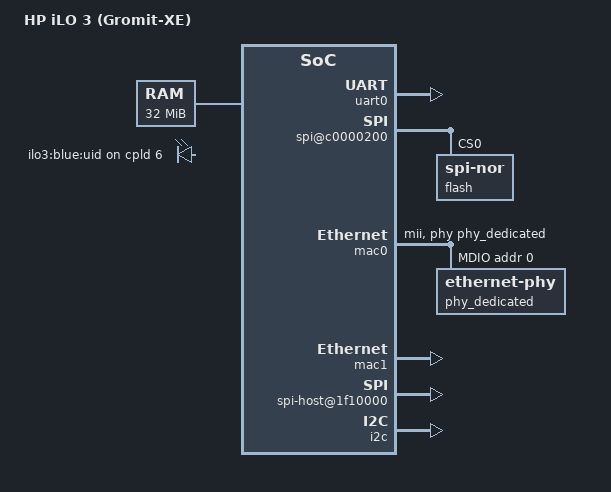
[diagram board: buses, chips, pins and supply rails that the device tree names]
// SPDX-License-Identifier: GPL-2.0+
/*
 * HP iLO 3 — Gromit-XE (GXE) BMC devicetree (DRAFT)
 *
 * Reconstructed purely by static reverse-engineering of iLO 3 FW 1.94
 * (Green Hills INTEGRITY firmware). Every address is PHYSICAL (the ASIC
 * device regions are identity-mapped; see docs/10). IRQ lines are from the
 * kernel BSP IODevice registry (see docs/12). Register offsets/bit-fields:
 * docs/05-15. CPU/SoC identity: docs/02 (ARM926EJ-S / ARMv5TEJ, PN 438893-503).
 *
 * STATUS: hardware-description draft. No upstream drivers exist for these
 * Gromit-XE blocks yet — `compatible` strings are proposed ("hpe,gxe-*").
 * Validate on real hardware before trusting sizes/bit-fields.
 */

/dts-v1/;

/ {
	model = "HP iLO 3 (Gromit-XE)";
	compatible = "hpe,ilo3-gxe", "hpe,gromit-xe";
	#address-cells = <1>;
	#size-cells = <1>;
	interrupt-parent = <&intc>;		/* global IRQ 0-63 (docs/12) */

	chosen {
		/* custom 8-bit Gromit-XE UART (docs/05). earlycon auto-matches the
		 * stdout-path node's compatible ("hpe,gxe-uart"); gxe-uart driver
		 * provides both earlycon and the ttyGXE console. */
		stdout-path = "serial0:9600n8";
		bootargs = "earlycon console=ttyGXE0,9600n8";
	};

	aliases {
		serial0 = &uart0;
		ethernet0 = &mac0;		/* dedicated iLO NIC */
		ethernet1 = &mac1;		/* sideband/shared NC-SI */
	};

	cpus {
		#address-cells = <1>;
		#size-cells = <0>;
		cpu@0 {
			device_type = "cpu";
			compatible = "arm,arm926ej-s";	/* ARMv5TEJ, docs/02 */
			reg = <0>;
		};
	};

	/*
	 * Per-process low 32 MB (FCSE). The OS address space is 0..0x02000000
	 * (docs/04). A separate 256 MB RAM region exists at 0x20000000 (docs/13);
	 * real DRAM size/placement needs hardware confirmation.
	 */
	memory@0 {
		device_type = "memory";
		reg = <0x00000000 0x02000000>;	/* 32 MB */
	};

	reserved-memory {
		#address-cells = <1>;
		#size-cells = <1>;
		ranges;

		/* KVM video-capture framebuffers (docs/14) */
		video_capture: video@b0000000 {
			reg = <0xb0000000 0x04000000>;	/* 64 MB */
			no-map;
		};

		/* CHIF host<->BMC shared-memory window (docs/06) */
		chif_shmem: chif@40000000 {
			reg = <0x40000000 0x10000000>;	/* 256 MB aperture */
			no-map;
		};
	};

	/*
	 * Interrupt controller — 64 lines in 2 HW banks (docs/12). One irqchip
	 * domain (global IRQ 0-63); the driver backs it with both register blocks:
	 *   bank0 (IRQ 0-31)  @ 0xCEFF0000
	 *   bank1 (IRQ 32-63) @ 0x80F00000
	 * Per bank: enable +0x14 (active-high), status +0x0C, per-source cfg +0x100[32].
	 */
	intc: interrupt-controller@ceff0000 {
		compatible = "hpe,gxe-intc";
		reg = <0xceff0000 0x1000>,	/* bank0: IRQ 0-31  */
		      <0x80f00000 0x1000>;	/* bank1: IRQ 32-63 */
		interrupt-controller;
		#interrupt-cells = <1>;
	};
};

/ {
	soc {
		compatible = "simple-bus";
		#address-cells = <1>;
		#size-cells = <1>;
		ranges;

		/* ---- ASIC core block 0xC0000000-0xC001FFFF (docs/05,11,12,15) ---- */

		/* custom 8-bit UART: data +0x00, status +0x05 (TXRDY=bit5, RXRDY=bit0) */
		uart0: serial@c00000f0 {
			compatible = "hpe,gxe-uart";
			reg = <0xc00000f0 0x8>;
			/* polled console (no IRQ wired in iLO fw) */
		};

		/*
		 * No calendar-RTC node: the Gromit-XE has NO wall-clock RTC register
		 * block (docs/18 corrects docs/05). 0xC0000097 is a timer latch byte
		 * and 0xC00000A0 is a chip-ID/revision register, not date/time. The
		 * original firmware keeps a SOFTWARE real-time clock (INTEGRITY
		 * RealTimeClock) seeded from the 64-bit counter @0xC0000098 (see the
		 * timer node) and set via SNTP/NTP. On OpenBMC: use the timer
		 * clocksource for the timebase + systemd-timesyncd (SNTP) and
		 * fake-hwclock to persist wall time across reboots. No RTC driver.
		 */

		crypto@c000000c {
			compatible = "hpe,gxe-crypto";	/* Corsec ASIC engine, docs/05 */
			reg = <0xc000000c 0x4>;
		};

		timer@c0000098 {
			compatible = "hpe,gxe-timer";
			reg = <0xc0000098 0x8>;		/* 64-bit free-running counter */
			interrupts = <7>;		/* IODTIMER1, docs/12 */
			/* TODO: real counter rate (strap-derived, unknown from fw) */
			clock-frequency = <1000000>;	/* PLACEHOLDER 1 MHz - fix on HW */
		};

		/* iLO's own boot SPI-NOR controller (SMIF/gxekflsh), docs/15 */
		spi@c0000200 {
			compatible = "hpe,gxe-smif";
			reg = <0xc0000200 0x80>;	/* regs + 64-byte data FIFO @+0x40 */
			interrupts = <26>, <27>, <28>;	/* IODSPI0-2, docs/12 */
			#address-cells = <1>;
			#size-cells = <0>;
			flash@0 {
				compatible = "jedec,spi-nor";
				reg = <0>;
				/* partition per docs/01,03 (boot ROM, main img, kernel, certs) */
			};
		};

		/* system control: reset (GXELAN reset @+0xC0), clock/strap config */
		coresys: syscon@c0000000 {
			compatible = "hpe,gxe-syscon", "syscon";
			reg = <0xc0000000 0x200>;
		};

		/* ---- GXELAN Ethernet — 2 NICs (docs/11) ---- */
		mac0: ethernet@c0004000 {		/* dedicated iLO port */
			compatible = "hpe,gxe-gmac";
			reg = <0xc0004000 0x1000>;
			interrupts = <16>;		/* IODMAC0, docs/12 */
			hpe,core-syscon = <&coresys>;	/* reset @+0xC0 */
			phy-mode = "mii";
			phy-handle = <&phy_dedicated>;

			mdio {
				compatible = "hpe,gxe-mdio";	/* reg @+0x80/+0x84 */
				#address-cells = <1>;
				#size-cells = <0>;
				phy_dedicated: ethernet-phy@0 {
					reg = <0>;
				};
			};
		};

		mac1: ethernet@c0005000 {		/* sideband / shared NC-SI */
			compatible = "hpe,gxe-gmac";
			reg = <0xc0005000 0x1000>;
			interrupts = <17>;		/* IODMAC1, docs/12 */
			hpe,core-syscon = <&coresys>;	/* reset @+0xC0 */
			/* shared path uses NC-SI to host LOM (phosphor-networkd + ncsi) */
		};

		/* GXELAN MAC DMA / secondary regs (docs/13) */
		mac-dma@a1000000 {
			compatible = "hpe,gxe-gmac-dma";
			reg = <0xa1000000 0x4000>;
		};

		/* ---- Peripheral window 0x01F00000 (docs/05,06,08,09,14) ---- */

		/*
		 * Native PECI engine (CPU DTS temp, RdPkgConfig, RdPCIConfig) — docs/26.
		 * In the 0x01F00000 window at +0x400 (NOT CPLD +0x68, which is only the
		 * XNC target MUX). Engine regs: CMD +0x00, STATUS +0x04, bit-timing
		 * +0x08, enable +0x0C. IRQ 60. hpe,cpld = the CPLD for multi-node MUX.
		 */
		peci@1f00400 {
			compatible = "hpe,gxe-peci";
			reg = <0x1f00400 0x10>;
			interrupts = <60>;		/* IODPECI, docs/12 */
			hpe,cpld = <&cpld>;
			#address-cells = <1>;
			#size-cells = <0>;
		};

		/*
		 * Fan controller (docs/25). NOT a flat per-fan PWM-duty register
		 * array: PWM is a CPLD-driven SERIAL scan chain (open-drain FET
		 * bits clocked out, periodic RESYNC) + TACH scan-chain inputs
		 * (FAN_1..6_TACH, 6 fans). Spans this block + CPLD 0x01F14000 +0x0B.
		 * Driver = net-new "gxe-fan-scanchain" hwmon (pwmN/fanN_input);
		 * no aspeed-pwm-tacho equivalent. host SDR defines fan count.
		 */
		fan@1f00200 {
			compatible = "hpe,gxe-fan-scanchain";
			reg = <0x1f00200 0x20>;		/* CTRL+0x0C, DATA+0x10-0x17, TACH+0x18/0x1C */
			interrupts = <55>;		/* IODFAN, docs/12 */
			hpe,cpld = <&cpld>;		/* latch strobe = CPLD 0x01F1400B bit1 */
			hpe,num-fans = <6>;		/* FAN_1..6_TACH */
			/* hpe,tach-divisor = <N>;  raw->RPM scale, set on HW (docs/27) */
		};

		/* Gromit-XE host interface: CHIF messaging + host power + VAS + SMBIOS.
		 * Host sees this as PCI fn .0/.2 (103c:3306/3307). docs/06.
		 * BAR reg +0x50, CHIF doorbell +0xD0/+0xD4 (IC0 line?), host-power +0x46,
		 * VAS +0x54, SMBIOS +0xA0. Second doorbell/status block at 0x01F03000.
		 */
		host-interface@1f02000 {
			compatible = "hpe,gxe-chif";
			reg = <0x1f02000 0x1000>,	/* CHIF/host-power/VAS/SMBIOS */
			      <0x1f03000 0x1000>;	/* doorbell/status (+0x04 bit2=msg) */
			reg-names = "chif", "doorbell";
			memory-region = <&chif_shmem>;
		};

		/* IPMI KCS + watchdog (docs/05) */
		kcs@1f0d400 {
			compatible = "hpe,gxe-kcs";
			reg = <0x1f0d400 0x400>;
			interrupts = <44>;		/* IODLEGACYKCS, docs/12 */
		};

		watchdog@1f0d480 {
			compatible = "hpe,gxe-wdt";
			reg = <0x1f0d480 0x80>;		/* WDT within the KCS block */
		};

		/* host System-ROM (BIOS) SPI access via SMIF/romchf (docs/15) */
		spi-host@1f10000 {
			compatible = "hpe,gxe-host-smif";
			reg = <0x1f10000 0x100>;
		};

		/* KVM video-capture controller (docs/14) */
		video@1f100c0 {
			compatible = "hpe,gxe-video";
			reg = <0x1f100c0 0x40>,		/* DVC capture control + status (docs/14) */
			      <0x1f06000 0x40>;		/* host-video source/snoop block */
			reg-names = "capture", "source";
			interrupts = <57>;		/* IODIRC, docs/12 */
			memory-region = <&video_capture>;	/* 0xB0000000 64MB framebuffers */
		};

		/*
		 * I2C/SMBus — 8 DMA engines sharing one register/buffer/descriptor
		 * block (docs/05). The driver registers 8 adapters:
		 *   engine regs  0x1F10100 + eng*0x10 (status+0, ctrl+1, data+4, cmd+8)
		 *   TX/RX buffer 0x1F10180 + eng*0x10 (+0x200 for eng 6,7), 16 B max
		 *   descriptor   0x1F101E0 + eng*4   (status+0, cmd+1, len+2)
		 */
		i2c: i2c@1f10100 {
			compatible = "hpe,gxe-i2c";
			reg = <0x1f10100 0x300>;	/* engine regs + buffers (eng6-7 @+0x200) + descriptors */
			interrupts = <8>, <9>, <10>, <11>, <12>, <13>, <14>, <15>;
			#address-cells = <1>;
			#size-cells = <0>;
		};

		/* CPLD + power-microcontroller block (docs/08,09).
		 * Chassis UID LED = reg +0x00 bit6; UID button = CPLD interrupt
		 * (+0x08/+0x2C). Also host-power seq, PSU, PECI, pwrmgr.
		 */
		cpld: syscon@1f14000 {
			compatible = "hpe,gxe-cpld-gpio", "hpe,gxe-cpld", "syscon";
			reg = <0x1f14000 0x200>;
			interrupts = <31>;		/* IODPWRMGR, docs/12 */
			/*
			 * GPIO view of the CPLD register window: gpio N = byte
			 * (N>>3) bit (N&7). gpio 6 = reg+0x00 bit6 = chassis UID
			 * (CONFIRMED). Other discrete lines by number (docs/09):
			 *   reg+0x00 bit7 = CPLD status   -> gpio 7
			 *   reg+0x18 bits0-3 = PSU enable  -> gpio 192-195 (inferred)
			 *   reg+0x19 bits0-3 = PSU present -> gpio 200-203 (inferred)
			 */
			gpio-controller;
			#gpio-cells = <2>;
			gpio-line-names = "", "", "", "", "", "", "chassis-uid-led";
		};

		/* Timer / "Wallace" companion block (docs/12) */
		/* Wallace companion timer = Linux clockevent (periodic tick). */
		timer@d1000000 {
			compatible = "hpe,gxe-wallace";
			reg = <0xd1000000 0x10000>;
			interrupts = <36>;		/* IODWALLACE, docs/12 */
			/* TODO real rate; clockevent reload/ack offsets are best-guess */
			clock-frequency = <1000000>;	/* PLACEHOLDER 1 MHz - fix on HW */
		};
	};

	/*
	 * Chassis UID / locator LED — driven via CPLD reg 0x01F14000 +0x00 bit6
	 * (docs/08). UID button = CPLD interrupt. Needs a CPLD-gpio driver;
	 * wire gpios once that exists.
	 */
	leds {
		compatible = "gpio-leds";
		led-uid {
			label = "ilo3:blue:uid";
			gpios = <&cpld 6 0>;	/* CPLD reg+0x00 bit6, active-high */
		};
	};
};
